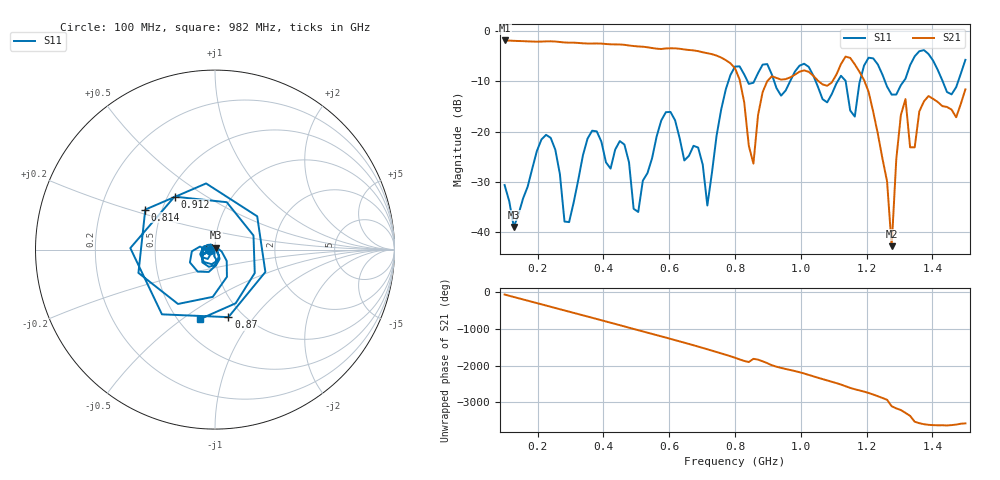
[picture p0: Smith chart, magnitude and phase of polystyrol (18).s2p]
! NanoVNA-App
! Date: 2025-09-25 15:30:02
! Start: 100MHz Stop: 1,5GHz Points: 101
! S-Parameter data: F S11 S21 S12 S22
# Hz S RI R 50
!  Frequency  S11_Real  S11_Imag  S21_Real  S21_Imag  S12_Real  S12_Imag  S22_Real  S22_Imag
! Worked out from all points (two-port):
!   101 points, 100 MHz to 1.5 GHz, reference 50 ohm
!   highest |S21| = -1.80 dB at 100 MHz (marker M1); lowest = -42.9 dB at 1.276 GHz (marker M2)
!   |S21| within 3 dB of the highest: start of sweep to 743 MHz
!   lowest |S11| = -39.1 dB at 128 MHz (marker M3), VSWR 1.02, Z = 50.3 + j1.07 ohm
!   |S11| at or under -10 dB: start of sweep to 779.7 MHz; 1.045 GHz to 1.112 GHz (66.3 MHz wide, 6.15 % of centre); 1.256 GHz to 1.312 GHz (55.96 MHz wide, 4.36 % of centre) (the widest 3 of 7)
!   S12 and S22 are empty: the file has one direction only
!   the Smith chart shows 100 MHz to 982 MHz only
!   S11 on the Smith chart (normalised r, x): 100 MHz: 0.94, -0.01; 814 MHz: 0.40, +0.23; 870 MHz: 0.85, -0.75; 912 MHz: 0.54, +0.37; 982 MHz: 0.63, -0.58
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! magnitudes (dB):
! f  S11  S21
! 100 MHz  -30.7  -1.8
! 128 MHz  -39.1  -1.9
! 212 MHz  -21.6  -2.0
! 282 MHz  -38.0  -2.2
! 338 MHz  -24.7  -2.4
! 464 MHz  -22.6  -2.7
! 506 MHz  -36.1  -3.0
! 576 MHz  -17.8  -3.5
! 716 MHz  -34.8  -4.3
! 800 MHz  -7.0  -7.3
! 814 MHz  -7.0  -9.6
! 856 MHz  -10.3  -26.4
! 870 MHz  -8.3  -16.7
! 912 MHz  -8.6  -8.9
! 982 MHz  -8.0  -8.6
! 1.038 GHz  -8.8  -8.9
! 1.164 GHz  -17.0  -6.6
! 1.192 GHz  -6.8  -9.7
! 1.276 GHz  -12.6  -42.9
! 1.318 GHz  -9.4  -13.5
! 1.346 GHz  -5.0  -23.2
! 1.5 GHz  -5.7  -11.6
